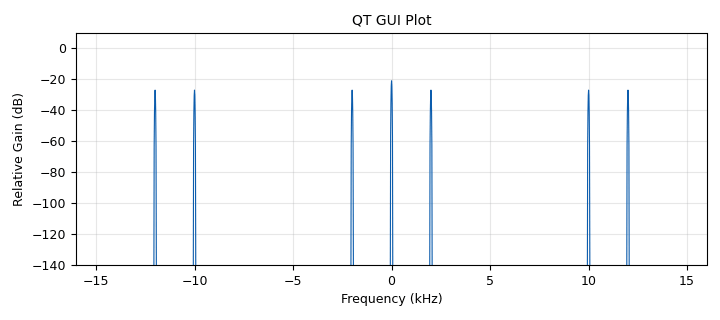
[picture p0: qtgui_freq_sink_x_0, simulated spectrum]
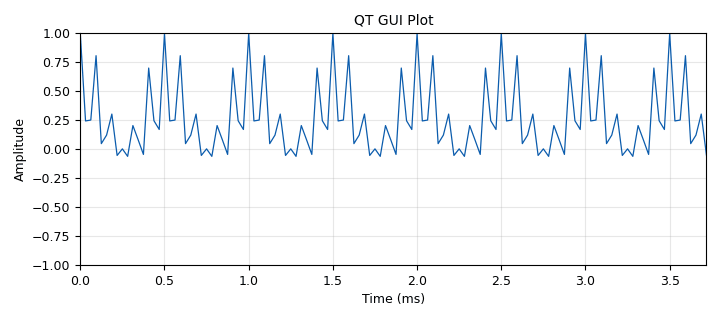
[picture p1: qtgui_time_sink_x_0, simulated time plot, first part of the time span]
options:
  parameters:
    author: labcom
    generate_options: qt_gui
    id: sample_rate_part3
    output_language: python
    title: Not titled yet
  states: {}

blocks:
- name: samp_rate
  id: variable
  parameters:
    value: '200000'
  states: {state: disabled}
- name: samp_rate
  id: variable_qtgui_range
  parameters:
    label: Frecuencia de Muestreo
    start: '5000'
    step: '1000'
    stop: '400000'
    value: '32000'
  states: {}
- name: analog_sig_source_x_0
  id: analog_sig_source_x
  parameters:
    amp: '1'
    freq: '17000'
    offset: '0'
    phase: '0'
    samp_rate: samp_rate
    type: float
    waveform: analog.GR_COS_WAVE
  states: {}
- name: analog_sig_source_x_0_0
  id: analog_sig_source_x
  parameters:
    amp: '1'
    freq: '70000'
    offset: '0'
    phase: '0'
    samp_rate: samp_rate
    type: float
    waveform: analog.GR_COS_WAVE
  states: {}
- name: analog_sig_source_x_0_1
  id: analog_sig_source_x
  parameters:
    amp: '1'
    freq: '43000'
    offset: '0'
    phase: '0'
    samp_rate: samp_rate
    type: float
    waveform: analog.GR_COS_WAVE
  states: {}
- name: blocks_multiply_xx_0
  id: blocks_multiply_xx
  parameters:
    num_inputs: '3'
    type: float
  states: {}
- name: blocks_throttle_0
  id: blocks_throttle
  parameters:
    samples_per_second: samp_rate
    type: float
  states: {}
- name: qtgui_freq_sink_x_0
  id: qtgui_freq_sink_x
  parameters:
    bw: samp_rate
    fc: '0'
    fftsize: '2048'
    name: QT GUI Plot
    type: float
  states: {}
- name: qtgui_time_sink_x_0
  id: qtgui_time_sink_x
  parameters:
    name: QT GUI Plot
    size: '1024'
    srate: samp_rate
    type: float
  states: {}

connections:
- [analog_sig_source_x_0, '0', blocks_multiply_xx_0, '0']
- [analog_sig_source_x_0_0, '0', blocks_multiply_xx_0, '1']
- [analog_sig_source_x_0_1, '0', blocks_multiply_xx_0, '2']
- [blocks_multiply_xx_0, '0', blocks_throttle_0, '0']
- [blocks_throttle_0, '0', qtgui_freq_sink_x_0, '0']
- [blocks_throttle_0, '0', qtgui_time_sink_x_0, '0']

metadata:
  file_format: 1
